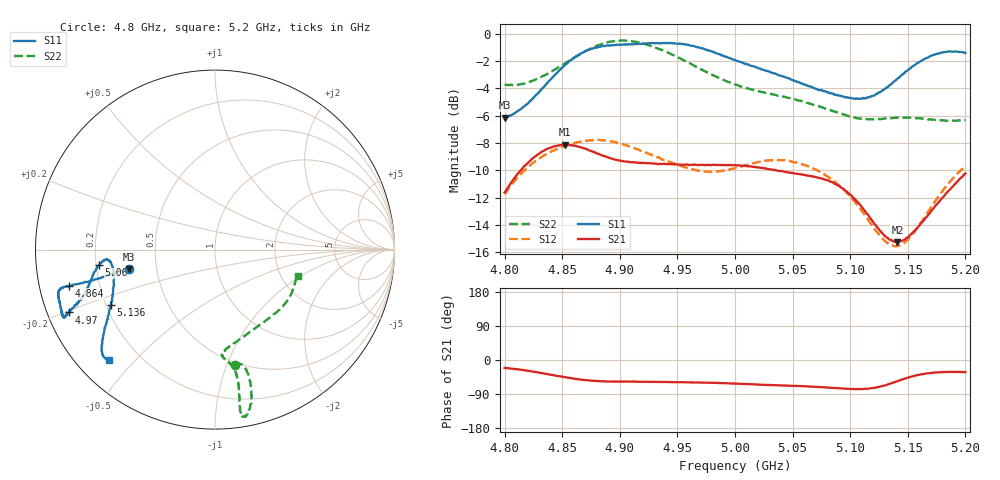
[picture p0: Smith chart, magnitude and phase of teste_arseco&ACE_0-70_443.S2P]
! Network Analyzer HP8722D
! Hewlett-Packard
! Data name: Linha & Wilkinson
! Saver's name: Rodrigo Anjos
! Comments: Teste da utilização de aquisição
! continua pelo VNA HP8722D
! Time and date: 8/5/2025 16:27
!  Frequency  S11  S21  S12  S22
# HZ  S  MA R 50
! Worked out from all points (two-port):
!   401 points, 4.8 GHz to 5.2 GHz, reference 50 ohm
!   highest |S21| = -8.12 dB at 4.852 GHz (marker M1); lowest = -15.2 dB at 5.141 GHz (marker M2)
!   |S21| within 3 dB of the highest: 4.804 GHz to 5.09 GHz (285.8 MHz wide, 5.78 % of centre); 5.18983 GHz to end of sweep
!   lowest |S11| = -6.2 dB at 4.8 GHz (marker M3), VSWR 2.94, Z = 17.2 - j4.89 ohm
!   |S11| at or under -10 dB: nowhere
!   |S22| runs from -6.4 to -0.5 dB; largest |S21 - S12| = 0.62
!   S11 on the Smith chart (normalised r, x): 4.8 GHz: 0.34, -0.10; 4.864 GHz: 0.09, -0.12; 4.97 GHz: 0.06, -0.20; 5.06 GHz: 0.21, -0.06; 5.136 GHz: 0.22, -0.24; 5.2 GHz: 0.09, -0.42
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4.8e9  0.4926 -167.4  0.2624 -20.7  0.2586 -141.9  0.6522 -80.1
4.826e9  0.5884 -166.8  0.3544 -31.4  0.3391 -146.0  0.6767 -75.8
4.852e9  0.7662 -165.9  0.3928 -45.4  0.3886 -150.7  0.7764 -75.2
4.864e9  0.8372 -166.0  0.3863 -50.8  0.4007 -152.6  0.8345 -76.0
4.867e9  0.8504 -166.0  0.3829 -52.0  0.4037 -153.0  0.8506 -76.1
4.898e9  0.911 -163.3  0.3448 -56.9  0.3978 -157.1  0.9446 -79.6
4.915e9  0.9172 -159.8  0.3372 -57.3  0.378 -157.6  0.932 -81.0
4.934e9  0.923 -156.8  0.3336 -57.8  0.3526 -156.0  0.879 -81.0
4.97e9  0.8874 -156.8  0.3313 -59.5  0.3147 -147.3  0.7426 -80.1
5e9  0.8023 -159.4  0.3302 -62.4  0.3225 -137.8  0.6513 -81.7
5.035e9  0.7136 -166.0  0.3169 -66.6  0.3443 -135.2  0.5968 -86.0
5.06e9  0.6525 -172.4  0.3041 -69.3  0.3308 -137.1  0.5636 -84.2
5.067e9  0.6374 -173.5  0.301 -70.1  0.323 -137.8  0.5509 -82.7
5.082e9  0.6066 -174.9  0.2887 -73.0  0.2968 -139.3  0.5267 -76.9
5.099e9  0.5826 -172.1  0.2599 -76.2  0.2562 -139.6  0.4983 -67.4
5.114e9  0.5812 -165.5  0.2204 -75.9  0.2128 -136.1  0.487 -56.5
5.134e9  0.6469 -153.2  0.1764 -63.3  0.1696 -118.7  0.4914 -42.8
5.136e9  0.6563 -152.0  0.1755 -61.2  0.1678 -116.2  0.4911 -41.6
5.141e9  0.6847 -149.5  0.173 -55.6  0.1671 -109.5  0.4924 -38.8
5.153e9  0.7536 -144.7  0.1848 -44.0  0.182 -94.8  0.4926 -32.6
5.171e9  0.8324 -139.4  0.2262 -34.0  0.234 -81.6  0.4846 -24.8
5.2e9  0.8517 -133.9  0.3079 -32.2  0.3267 -77.7  0.4833 -17.7
